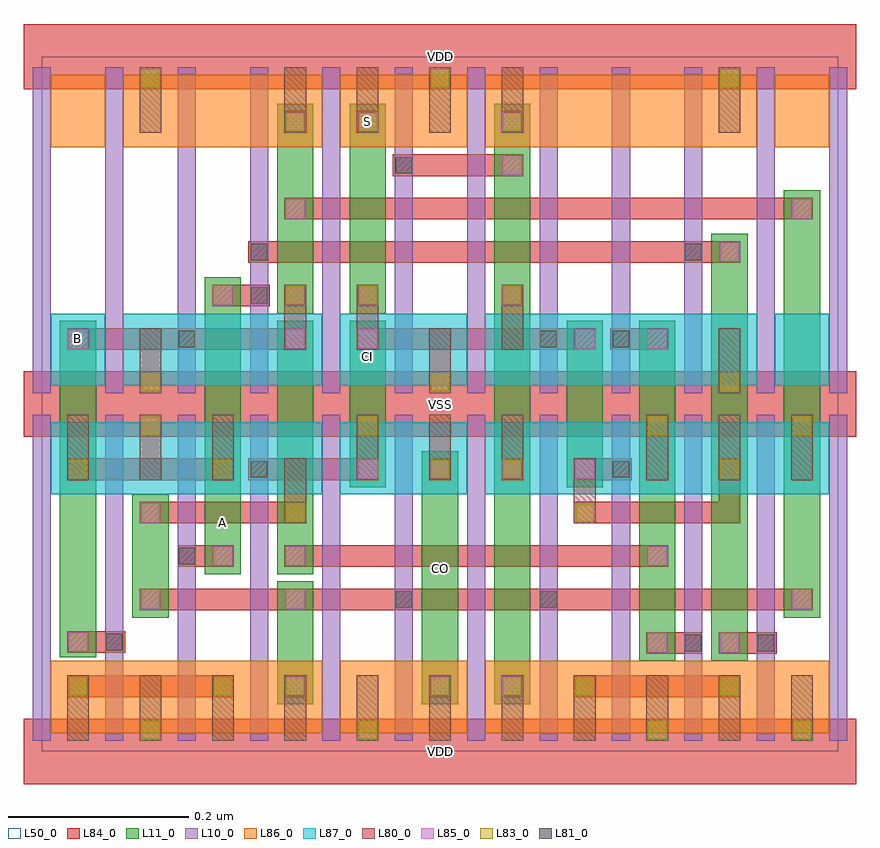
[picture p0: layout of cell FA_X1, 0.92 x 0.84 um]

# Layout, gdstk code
import gdstk
lib = gdstk.Library(unit=1e-6, precision=1e-09)
def R(c, l, rs):  # rectangles x0, y0, x1, y1
    for r in rs: c.add(gdstk.rectangle(r[:2], r[2:], *l))
def A(c, l, x, y, w, h, nx, ny, dx, dy):  # array of equal rectangles
    R(c, l, [(x+i*dx, y+j*dy, x+i*dx+w, y+j*dy+h) for i in range(nx) for j in range(ny)])
L10_0 = (10, 0)
L11_0 = (11, 0)
L50_0 = (50, 0)
L80_0 = (80, 0)
L81_0 = (81, 0)
L83_0 = (83, 0)
L84_0 = (84, 0)
L85_0 = (85, 0)
L86_0 = (86, 0)
L87_0 = (87, 0)

fa_x1 = lib.new_cell('FA_X1')
A(fa_x1, L10_0, -0.01, 0.012, 0.02, 0.36, 12, 2, 0.08, 0.384)
R(fa_x1, L11_0, [(0.26,0.052,0.3,0.188), (0.42,0.052,0.46,0.332), (0.5,0.052,0.54,0.716), (0.66,0.1,0.7,0.476), (0.74,0.1,0.78,0.572), (0.02,0.104,0.06,0.476), (0.1,0.148,0.14,0.284), (0.82,0.148,0.86,0.62), (0.18,0.196,0.22,0.524), (0.26,0.196,0.3,0.476), (0.34,0.292,0.38,0.476), (0.58,0.292,0.62,0.476), (0.26,0.484,0.3,0.716), (0.34,0.484,0.38,0.716)])
R(fa_x1, L50_0, [(0,0,0.88,0.768)])
A(fa_x1, L80_0, 0.028, 0.012, 0.024, 0.072, 11, 1, 0.08, 0)
A(fa_x1, L80_0, 0.028, 0.3, 0.024, 0.072, 3, 1, 0.08, 0)
A(fa_x1, L80_0, 0.348, 0.3, 0.024, 0.072, 3, 1, 0.08, 0)
A(fa_x1, L80_0, 0.668, 0.3, 0.024, 0.072, 3, 1, 0.08, 0)
A(fa_x1, L80_0, 0.108, 0.396, 0.024, 0.072, 3, 1, 0.32, 0)
A(fa_x1, L80_0, 0.268, 0.684, 0.024, 0.072, 4, 1, 0.08, 0)
R(fa_x1, L80_0, [(0.268,0.252,0.292,0.324), (0.588,0.252,0.612,0.324), (0.268,0.444,0.292,0.516), (0.348,0.444,0.372,0.516), (0.508,0.444,0.532,0.516), (0.108,0.684,0.132,0.756), (0.748,0.684,0.772,0.756)])
R(fa_x1, L81_0, [(0.711,0.111,0.729,0.129), (0.791,0.111,0.809,0.129), (0.071,0.112,0.089,0.13), (0.391,0.159,0.409,0.177), (0.551,0.159,0.569,0.177), (0.151,0.207,0.169,0.225), (0.231,0.303,0.249,0.321), (0.631,0.303,0.649,0.321), (0.151,0.447,0.169,0.465), (0.551,0.447,0.569,0.465), (0.631,0.447,0.649,0.465), (0.231,0.495,0.249,0.513), (0.231,0.543,0.249,0.561), (0.711,0.543,0.729,0.561), (0.391,0.639,0.409,0.657)])
A(fa_x1, L83_0, 0.43, 0.062, 0.02, 0.02, 3, 1, 0.08, 0)
A(fa_x1, L83_0, 0.51, 0.302, 0.02, 0.02, 1, 3, 0, 0.192)
A(fa_x1, L83_0, 0.11, 0.398, 0.02, 0.02, 3, 2, 0.32, 0.336)
R(fa_x1, L83_0, [(0.11,0.014,0.13,0.034), (0.35,0.014,0.37,0.034), (0.67,0.014,0.69,0.034), (0.83,0.014,0.85,0.034), (0.03,0.062,0.05,0.082), (0.19,0.062,0.21,0.082), (0.27,0.062,0.29,0.082), (0.75,0.062,0.77,0.082), (0.27,0.254,0.29,0.274), (0.59,0.254,0.61,0.274), (0.03,0.302,0.05,0.322), (0.19,0.302,0.21,0.322), (0.43,0.302,0.45,0.322), (0.75,0.302,0.77,0.322), (0.11,0.35,0.13,0.37), (0.35,0.35,0.37,0.37), (0.67,0.35,0.69,0.37), (0.83,0.35,0.85,0.37), (0.27,0.494,0.29,0.514), (0.35,0.494,0.37,0.514), (0.27,0.686,0.29,0.706), (0.35,0.686,0.37,0.706)])
A(fa_x1, L84_0, -0.02, -0.036, 0.92, 0.072, 1, 3, 0, 0.384)
A(fa_x1, L84_0, 0.508, 0.3, 0.024, 0.024, 1, 3, 0, 0.192)
R(fa_x1, L84_0, [(0.028,0.06,0.212,0.084), (0.268,0.06,0.292,0.084), (0.428,0.06,0.452,0.084), (0.508,0.06,0.532,0.084), (0.588,0.06,0.772,0.084), (0.668,0.108,0.73,0.132), (0.748,0.108,0.812,0.132), (0.028,0.109,0.092,0.133), (0.108,0.156,0.852,0.18), (0.15,0.204,0.212,0.228), (0.268,0.204,0.372,0.228), (0.348,0.204,0.692,0.228), (0.108,0.252,0.292,0.276), (0.588,0.252,0.772,0.276), (0.748,0.252,0.772,0.324), (0.028,0.3,0.212,0.324), (0.028,0.3,0.052,0.324), (0.228,0.3,0.372,0.324), (0.428,0.3,0.452,0.324), (0.588,0.3,0.652,0.324), (0.028,0.444,0.292,0.468), (0.348,0.444,0.612,0.468), (0.628,0.444,0.692,0.468), (0.188,0.492,0.252,0.516), (0.268,0.492,0.292,0.516), (0.348,0.492,0.372,0.516), (0.228,0.54,0.772,0.564), (0.268,0.588,0.852,0.612), (0.388,0.636,0.532,0.66), (0.268,0.684,0.292,0.708), (0.348,0.684,0.372,0.708)])
A(fa_x1, L85_0, 0.349, 0.301, 0.022, 0.022, 4, 1, 0.08, 0)
A(fa_x1, L85_0, 0.189, 0.493, 0.022, 0.022, 3, 1, 0.08, 0)
R(fa_x1, L85_0, [(0.269,0.061,0.291,0.083), (0.429,0.061,0.451,0.083), (0.509,0.061,0.531,0.083), (0.669,0.109,0.691,0.131), (0.749,0.109,0.771,0.131), (0.029,0.11,0.051,0.132), (0.109,0.157,0.131,0.179), (0.269,0.157,0.291,0.179), (0.829,0.157,0.851,0.179), (0.189,0.205,0.211,0.227), (0.269,0.205,0.291,0.227), (0.669,0.205,0.691,0.227), (0.109,0.253,0.131,0.275), (0.029,0.445,0.051,0.467), (0.269,0.445,0.291,0.467), (0.349,0.445,0.371,0.467), (0.589,0.445,0.611,0.467), (0.669,0.445,0.691,0.467), (0.509,0.493,0.531,0.515), (0.749,0.541,0.771,0.563), (0.269,0.589,0.291,0.611), (0.829,0.589,0.851,0.611), (0.509,0.637,0.531,0.659), (0.269,0.685,0.291,0.707), (0.349,0.685,0.371,0.707), (0.509,0.685,0.531,0.707)])
R(fa_x1, L86_0, [(0.01,0.02,0.31,0.1), (0.33,0.02,0.47,0.1), (0.49,0.02,0.87,0.1), (0.01,0.668,0.07,0.748), (0.09,0.668,0.31,0.748), (0.33,0.668,0.47,0.748), (0.49,0.668,0.79,0.748), (0.81,0.668,0.87,0.748)])
R(fa_x1, L87_0, [(0.01,0.284,0.31,0.364), (0.33,0.284,0.47,0.364), (0.49,0.284,0.87,0.364), (0.01,0.404,0.07,0.484), (0.09,0.404,0.31,0.484), (0.33,0.404,0.47,0.484), (0.49,0.404,0.79,0.484), (0.81,0.404,0.87,0.484)])
fa_x1.add(gdstk.Label('VDD', (0.44,0.768), layer=88, texttype=0))
fa_x1.add(gdstk.Label('VDD', (0.44,0), layer=88, texttype=0))
fa_x1.add(gdstk.Label('VSS', (0.44,0.384), layer=88, texttype=0))
fa_x1.add(gdstk.Label('B', (0.039,0.456), layer=31, texttype=0))
fa_x1.add(gdstk.Label('S', (0.36,0.696), layer=31, texttype=0))
fa_x1.add(gdstk.Label('A', (0.2,0.253), layer=31, texttype=0))
fa_x1.add(gdstk.Label('CI', (0.36,0.436), layer=31, texttype=0))
fa_x1.add(gdstk.Label('CO', (0.44,0.202), layer=31, texttype=0))

lib.write_gds('FA_X1.gds')
